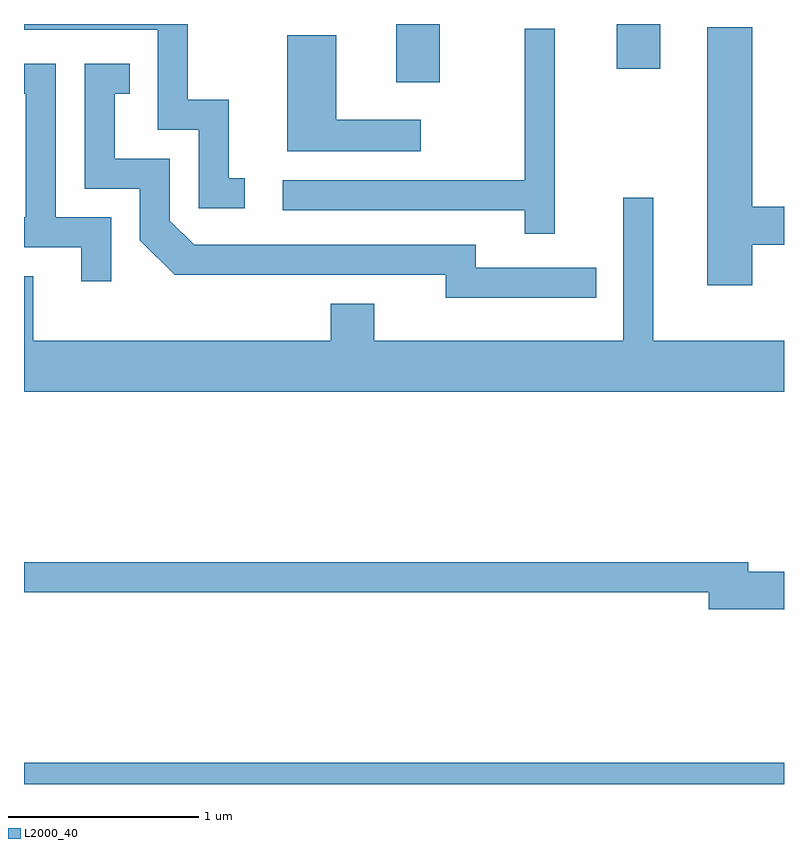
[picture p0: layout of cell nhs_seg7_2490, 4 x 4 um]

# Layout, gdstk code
import gdstk
lib = gdstk.Library(unit=1e-6, precision=1e-09)
def R(c, l, rs):  # rectangles x0, y0, x1, y1
    for r in rs: c.add(gdstk.rectangle(r[:2], r[2:], *l))
def P(c, l, *ps):  # polygons
    for p in ps: c.add(gdstk.Polygon(p, *l))
L2000_40 = (2000, 40)

nhs_seg7_2490 = lib.new_cell('nhs_seg7_2490')
R(nhs_seg7_2490, L2000_40, [(261.611,1712.252,265.611,1712.364), (263.571,1715.946,263.799,1716.252), (264.731,1716.016,264.959,1716.252)])
P(nhs_seg7_2490, L2000_40, [(262.773,1715.439),(262.689,1715.439),(262.689,1715.854),(262.474,1715.854),(262.474,1716.252),(261.611,1716.252),(261.611,1716.221),(262.316,1716.221),(262.316,1715.696),(262.531,1715.696),(262.531,1715.281),(262.773,1715.281)],
  [(265.444,1715.091),(265.611,1715.091),(265.611,1715.289),(265.444,1715.289),(265.444,1716.234),(265.206,1716.234),(265.206,1714.876),(265.444,1714.876)],
  [(264.404,1716.228),(264.246,1716.228),(264.246,1715.429),(262.973,1715.429),(262.973,1715.271),(264.246,1715.271),(264.246,1715.148),(264.404,1715.148)],
  [(263.698,1715.749),(263.254,1715.749),(263.254,1716.194),(262.996,1716.194),(262.996,1715.581),(263.698,1715.581)],
  [(264.623,1714.969),(263.989,1714.969),(263.989,1715.089),(262.507,1715.089),(262.379,1715.217),(262.379,1715.544),(262.089,1715.544),(262.089,1715.886),(262.168,1715.886),(262.168,1716.044),(261.931,1716.044),(261.931,1715.386),(262.221,1715.386),(262.221,1715.114),(262.404,1714.931),(263.831,1714.931),(263.831,1714.811),(264.623,1714.811)],
  [(262.069,1715.234),(261.779,1715.234),(261.779,1716.044),(261.611,1716.044),(261.611,1715.886),(261.621,1715.886),(261.621,1715.234),(261.611,1715.234),(261.611,1715.076),(261.911,1715.076),(261.911,1714.898),(262.069,1714.898)],
  [(265.611,1714.584),(264.924,1714.584),(264.924,1715.338),(264.766,1715.338),(264.766,1714.584),(263.454,1714.584),(263.454,1714.779),(263.226,1714.779),(263.226,1714.584),(261.659,1714.584),(261.659,1714.924),(261.611,1714.924),(261.611,1714.316),(265.611,1714.316)],
  [(265.611,1713.369),(265.424,1713.369),(265.424,1713.419),(261.611,1713.419),(261.611,1713.261),(265.216,1713.261),(265.216,1713.171),(265.611,1713.171)])

lib.write_gds('nhs_seg7_2490.gds')
